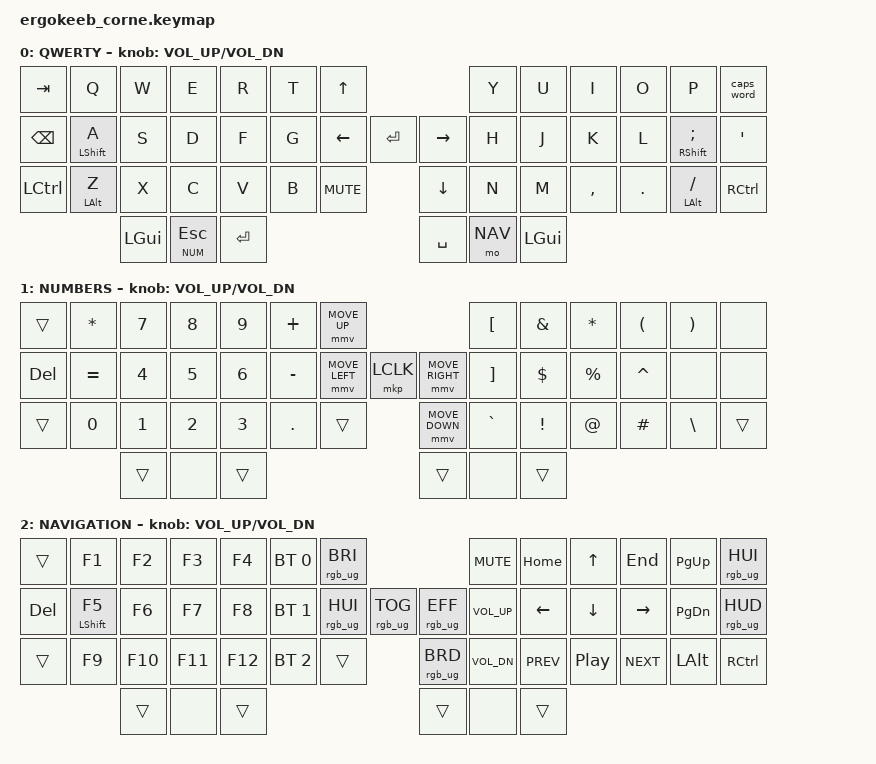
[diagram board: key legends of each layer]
#include <dt-bindings/zmk/mouse.h>
#include <input/processors.dtsi>
#include <behaviors.dtsi>
#include <dt-bindings/zmk/bt.h>
#include <dt-bindings/zmk/keys.h>
#include <dt-bindings/zmk/outputs.h>
#include <dt-bindings/zmk/pointing.h>
#include <dt-bindings/zmk/rgb.h>

#define ZMK_MOUSE_DEFAULT_MOVE_VAL 1200  // 600
#define ZMK_MOUSE_DEFAULT_SCRL_VAL 20    // 10

#define BASE 0
#define NUM  1
#define NAV  2

/ {
    behaviors {
        // "a" VARIANT (branch gen6a; gen5a before it): backup of the master firmware with the
        // gen 4 mod positions. Everything else must stay identical to master.
        // Hold-taps:
        //   A|Shift and ;|Shift (home row) and F5|Shift on NAV: built-in &mt.
        //   Esc|NUM on the left middle thumb: built-in &lt.
        //   Z|Alt and /|Alt: &slow_alt below.
        // Master moves Shift to Z and / and Alt to X and . instead. Either way the Shift
        // keys stay plain &mt: a tuned or guarded Shift breaks rolled capitals (tried and
        // reverted, see CLAUDE.md "Home-row-mod experiment").
        // Alt is always LALT: RALT acts as AltGr on UK/EU Windows layouts.

        // Alt is rarely used, so it has to be held deliberately:
        //   tap-preferred + 400 ms: only becomes Alt once held for 0.4 s, whatever else is pressed.
        //   require-prior-idle 150 ms: always a plain tap while typing ("next", "end. ").
        // The idle guard suits Alt (never needed mid-word); it would break Shift (capitals are).
        slow_alt: slow_alt {
            compatible = "zmk,behavior-hold-tap";
            #binding-cells = <2>;
            flavor = "tap-preferred";
            tapping-term-ms = <400>;
            require-prior-idle-ms = <150>;
            bindings = <&kp>, <&kp>;
        };
    };

    keymap {
        compatible = "zmk,keymap";

        default_layer {
            display-name = "QWERTY";
            bindings = <
&kp TAB    &kp Q        &kp W  &kp E    &kp R  &kp T                              &kp UP                 &kp Y      &kp U  &kp I      &kp O    &kp P            &caps_word
&kp BSPC   &mt LSHFT A        &kp S    &kp D    &kp F  &kp G                   &kp LEFT  &kp RET   &kp RIGHT  &kp H      &kp J  &kp K      &kp L    &mt RSHFT SEMI        &kp SQT
&kp LCTRL  &slow_alt LALT Z   &kp X    &kp C    &kp V  &kp B       &kp C_MUTE            &kp DOWN             &kp N      &kp M  &kp COMMA  &kp DOT  &slow_alt LALT FSLH   &kp RCTRL
                               &kp LGUI &lt NUM ESC &kp RET                                           &kp SPACE  &mo NAV  &kp LGUI
            >;
            // Roller (rotary encoder next to B; only fitted on some boards): turn = volume
            // (clockwise = up), click = mute. The click is key position 34, the spot next to B.
            sensor-bindings = <&inc_dec_kp C_VOL_UP C_VOL_DN>;
        };

        num_layer {
            display-name = "NUMBERS";
            bindings = <
&trans    &kp ASTRK  &kp N7  &kp N8         &kp N9          &kp PLUS                              &mmv MOVE_UP                       &kp LBKT   &kp AMPS   &kp ASTRK  &kp LPAR  &kp RPAR  &none
&kp DEL   &kp EQUAL  &kp N4  &kp N5         &kp N6          &kp MINUS               &mmv MOVE_LEFT  &mkp LCLK  &mmv MOVE_RIGHT  &kp RBKT   &kp DLLR   &kp PRCNT  &kp CARET &none     &none
&trans    &kp N0     &kp N1  &kp N2         &kp N3          &kp DOT     &trans                    &mmv MOVE_DOWN                     &kp GRAVE  &kp EXCL   &kp AT     &kp HASH  &kp BSLH  &trans
                             &trans         &none           &trans                                                                  &trans     &none       &trans
            >;
            sensor-bindings = <&inc_dec_kp C_VOL_UP C_VOL_DN>;
        };

        nav_layer {
            display-name = "NAVIGATION";
            bindings = <
&trans       &kp F1        &kp F2   &kp F3   &kp F4   &bt BT_SEL 0                      &rgb_ug RGB_BRI                          &kp C_MUTE    &kp HOME   &kp UP     &kp END    &kp PG_UP  &rgb_ug RGB_HUI
&kp DEL      &mt LSHFT F5  &kp F6   &kp F7   &kp F8   &bt BT_SEL 1      &rgb_ug RGB_HUI  &rgb_ug RGB_TOG  &rgb_ug RGB_EFF  &kp C_VOL_UP  &kp LEFT   &kp DOWN   &kp RIGHT  &kp PG_DN  &rgb_ug RGB_HUD
&trans       &kp F9        &kp F10  &kp F11  &kp F12  &bt BT_SEL 2  &trans             &rgb_ug RGB_BRD                          &kp C_VOL_DN  &kp C_PREV &kp C_PP   &kp C_NEXT &kp LALT   &kp RCTRL
                                    &trans   &none    &trans                                                                    &trans        &none       &trans
            >;
            sensor-bindings = <&inc_dec_kp C_VOL_UP C_VOL_DN>;
        };
    };
};
